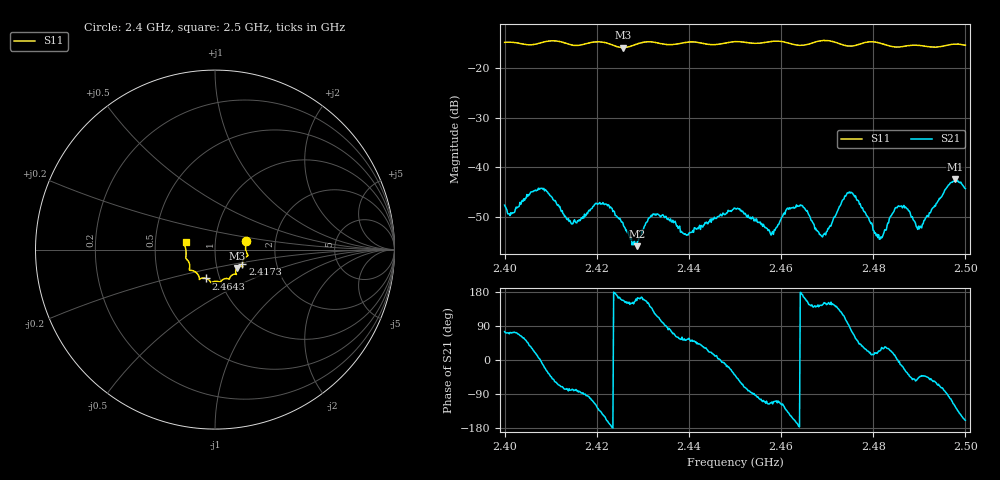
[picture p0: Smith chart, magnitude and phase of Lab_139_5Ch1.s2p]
# Hz S RI R 50
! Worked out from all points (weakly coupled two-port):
!   601 points, 2.4 GHz to 2.5 GHz, reference 50 ohm
!   highest |S21| = -42.38 dB at 2.4978 GHz (marker M1); lowest = -55.8 dB at 2.4287 GHz (marker M2)
!   lowest |S11| = -15.9 dB at 2.4257 GHz (marker M3), VSWR 1.38, Z = 62.4 - j13.1 ohm
!   |S11| at or under -10 dB: start of sweep to end of sweep
!   S12 and S22 are empty: the file has one direction only
!   S11 on the Smith chart (normalised r, x): 2.4 GHz: 1.41, +0.14; 2.4173 GHz: 1.34, -0.23; 2.4643 GHz: 0.86, -0.28; 2.5 GHz: 0.72, +0.06
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2.4e9  0.1732 0.0496  0.0011 0.00404  0 0  0 0
2.408e9  0.178 -0.021  0.00615 -0.00058  0 0  0 0
2.414167e9  0.1645 -0.0478  0.00052 -0.00289  0 0  0 0
2.416667e9  0.1529 -0.0747  0.00015 -0.00312  0 0  0 0
2.417333e9  0.1524 -0.0821  -3.45e-05 -0.0034  0 0  0 0
2.421667e9  0.1528 -0.095  -0.00362 -0.00221  0 0  0 0
2.425667e9  0.1226 -0.1023  -0.00257 0.00105  0 0  0 0
2.428667e9  0.1158 -0.129  -0.00149 0.000641  0 0  0 0
2.433333e9  0.1127 -0.1369  -0.00131 0.00311  0 0  0 0
2.4395e9  0.0804 -0.1617  0.00124 0.00168  0 0  0 0
2.45e9  0.0295 -0.1809  0.003 -0.0025  0 0  0 0
2.458e9  -0.0185 -0.1831  -0.000782 -0.00206  0 0  0 0
2.464333e9  -0.0502 -0.1606  -0.00414 0.00016  0 0  0 0
2.466667e9  -0.0763 -0.1597  -0.00241 0.00164  0 0  0 0
2.469333e9  -0.0876 -0.1668  -0.00189 0.00103  0 0  0 0
2.475e9  -0.1066 -0.1263  0.000537 0.00551  0 0  0 0
2.481e9  -0.1423 -0.1092  0.00185 0.000688  0 0  0 0
2.483333e9  -0.1406 -0.0895  0.00241 0.00139  0 0  0 0
2.486167e9  -0.1508 -0.0617  0.00398 -0.00103  0 0  0 0
2.49e9  -0.1628 -0.0413  0.00172 -0.00171  0 0  0 0
2.497833e9  -0.1706 0.0308  -0.00424 -0.00631  0 0  0 0
2.5e9  -0.1633 0.042  -0.00574 -0.00219  0 0  0 0
